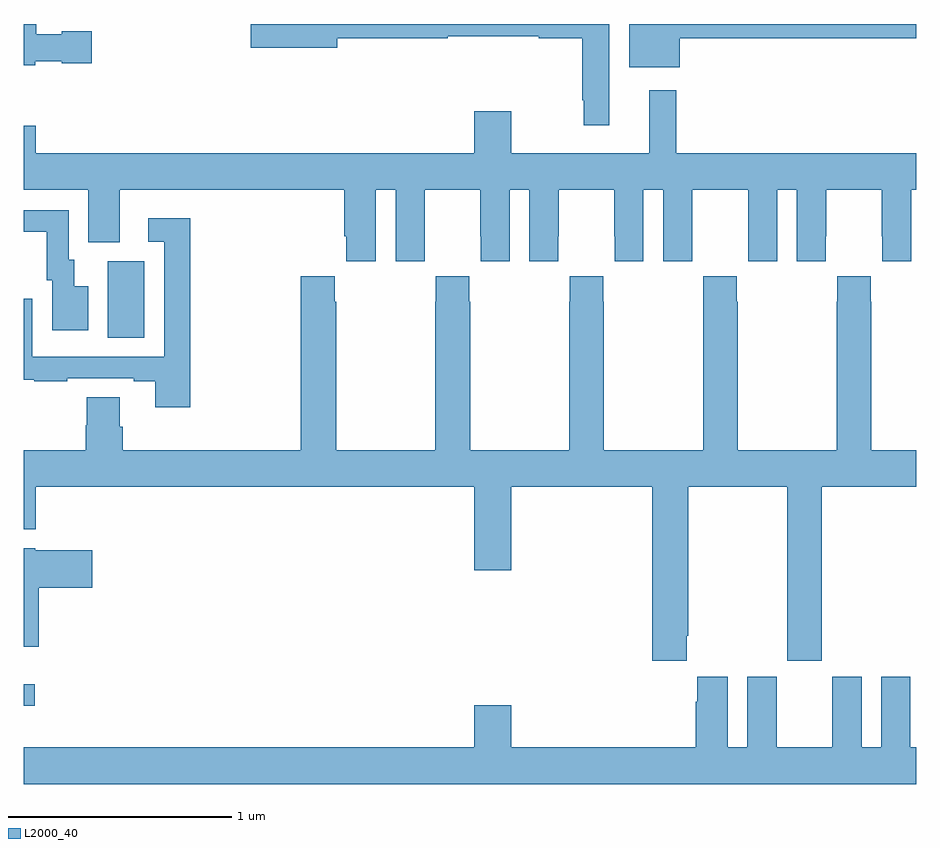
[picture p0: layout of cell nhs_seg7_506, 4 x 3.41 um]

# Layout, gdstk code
import gdstk
lib = gdstk.Library(unit=1e-6, precision=1e-09)
def R(c, l, rs):  # rectangles x0, y0, x1, y1
    for r in rs: c.add(gdstk.rectangle(r[:2], r[2:], *l))
def P(c, l, *ps):  # polygons
    for p in ps: c.add(gdstk.Polygon(p, *l))
L2000_40 = (2000, 40)

nhs_seg7_506 = lib.new_cell('nhs_seg7_506')
R(nhs_seg7_506, L2000_40, [(151,1024.944,151.048,1025.04), (151.376,1026.592,151.54,1026.936)])
P(nhs_seg7_506, L2000_40, [(151.05,1027.832),(151.17,1027.832),(151.17,1027.825),(151.303,1027.825),(151.303,1027.967),(151.17,1027.967),(151.17,1027.954),(151.054,1027.954),(151.054,1028),(151,1028),(151,1027.814),(151.05,1027.814)],
  [(153.94,1027.936),(155,1027.936),(155,1028),(153.713,1028),(153.713,1027.805),(153.94,1027.805)],
  [(153.625,1028),(152.016,1028),(152.016,1027.894),(152.404,1027.894),(152.404,1027.936),(152.9,1027.936),(152.9,1027.944),(153.308,1027.944),(153.308,1027.936),(153.504,1027.936),(153.504,1027.657),(153.511,1027.657),(153.511,1027.545),(153.625,1027.545)],
  [(152.578,1027.256),(152.666,1027.256),(152.666,1026.936),(152.796,1026.936),(152.796,1027.048),(152.797,1027.048),(152.797,1027.256),(153.047,1027.256),(153.047,1027.048),(153.048,1027.048),(153.048,1026.936),(153.178,1026.936),(153.178,1027.256),(153.266,1027.256),(153.266,1026.936),(153.396,1026.936),(153.396,1027.048),(153.397,1027.048),(153.397,1027.256),(153.647,1027.256),(153.647,1027.048),(153.648,1027.048),(153.648,1026.936),(153.778,1026.936),(153.778,1027.256),(153.866,1027.256),(153.866,1026.936),(153.996,1026.936),(153.996,1027.048),(153.997,1027.048),(153.997,1027.256),(154.247,1027.256),(154.247,1027.048),(154.248,1027.048),(154.248,1026.936),(154.378,1026.936),(154.378,1027.256),(154.466,1027.256),(154.466,1026.936),(154.596,1026.936),(154.596,1027.048),(154.597,1027.048),(154.597,1027.256),(154.847,1027.256),(154.847,1027.048),(154.848,1027.048),(154.848,1026.936),(154.978,1026.936),(154.978,1027.256),(155,1027.256),(155,1027.42),(153.925,1027.42),(153.925,1027.702),(153.803,1027.702),(153.803,1027.42),(153.184,1027.42),(153.184,1027.609),(153.02,1027.609),(153.02,1027.42),(151.052,1027.42),(151.052,1027.544),(151,1027.544),(151,1027.256),(151.289,1027.256),(151.289,1027.021),(151.429,1027.021),(151.429,1027.256),(152.435,1027.256),(152.435,1027.048),(152.444,1027.048),(152.444,1026.936),(152.578,1026.936)],
  [(151.288,1026.823),(151.225,1026.823),(151.225,1026.942),(151.2,1026.942),(151.2,1027.164),(151,1027.164),(151,1027.068),(151.103,1027.068),(151.103,1026.852),(151.127,1026.852),(151.127,1026.627),(151.288,1026.627)],
  [(151.745,1027.129),(151.557,1027.129),(151.557,1027.023),(151.629,1027.023),(151.629,1026.507),(151.038,1026.507),(151.038,1026.769),(151,1026.769),(151,1026.405),(151.045,1026.405),(151.045,1026.399),(151.193,1026.399),(151.193,1026.411),(151.493,1026.411),(151.493,1026.399),(151.589,1026.399),(151.589,1026.282),(151.745,1026.282)],
  [(154.2,1026.755),(154.197,1026.755),(154.197,1026.868),(154.047,1026.868),(154.047,1026.755),(154.045,1026.755),(154.045,1026.088),(153.6,1026.088),(153.6,1026.755),(153.597,1026.755),(153.597,1026.868),(153.447,1026.868),(153.447,1026.755),(153.445,1026.755),(153.445,1026.088),(153,1026.088),(153,1026.755),(152.997,1026.755),(152.997,1026.868),(152.847,1026.868),(152.847,1026.755),(152.845,1026.755),(152.845,1026.088),(152.4,1026.088),(152.4,1026.755),(152.393,1026.755),(152.393,1026.868),(152.24,1026.868),(152.24,1026.088),(151.442,1026.088),(151.442,1026.194),(151.429,1026.194),(151.429,1026.326),(151.282,1026.326),(151.282,1026.201),(151.277,1026.201),(151.277,1026.088),(151,1026.088),(151,1025.735),(151.052,1025.735),(151.052,1025.924),(153.02,1025.924),(153.02,1025.55),(153.184,1025.55),(153.184,1025.924),(153.818,1025.924),(153.818,1025.145),(153.973,1025.145),(153.973,1025.257),(153.978,1025.257),(153.978,1025.924),(154.423,1025.924),(154.423,1025.145),(154.578,1025.145),(154.578,1025.924),(155,1025.924),(155,1026.088),(154.8,1026.088),(154.8,1026.755),(154.797,1026.755),(154.797,1026.868),(154.647,1026.868),(154.647,1026.755),(154.645,1026.755),(154.645,1026.088),(154.2,1026.088)],
  [(151.067,1025.471),(151.306,1025.471),(151.306,1025.641),(151.05,1025.641),(151.05,1025.65),(151,1025.65),(151,1025.208),(151.067,1025.208)],
  [(155,1024.756),(154.975,1024.756),(154.975,1025.074),(154.844,1025.074),(154.844,1024.756),(154.756,1024.756),(154.756,1025.074),(154.625,1025.074),(154.625,1024.756),(154.375,1024.756),(154.375,1025.074),(154.244,1025.074),(154.244,1024.756),(154.156,1024.756),(154.156,1025.074),(154.019,1025.074),(154.019,1024.961),(154.013,1024.961),(154.013,1024.756),(153.184,1024.756),(153.184,1024.945),(153.02,1024.945),(153.02,1024.756),(151,1024.756),(151,1024.592),(155,1024.592)])

lib.write_gds('nhs_seg7_506.gds')
